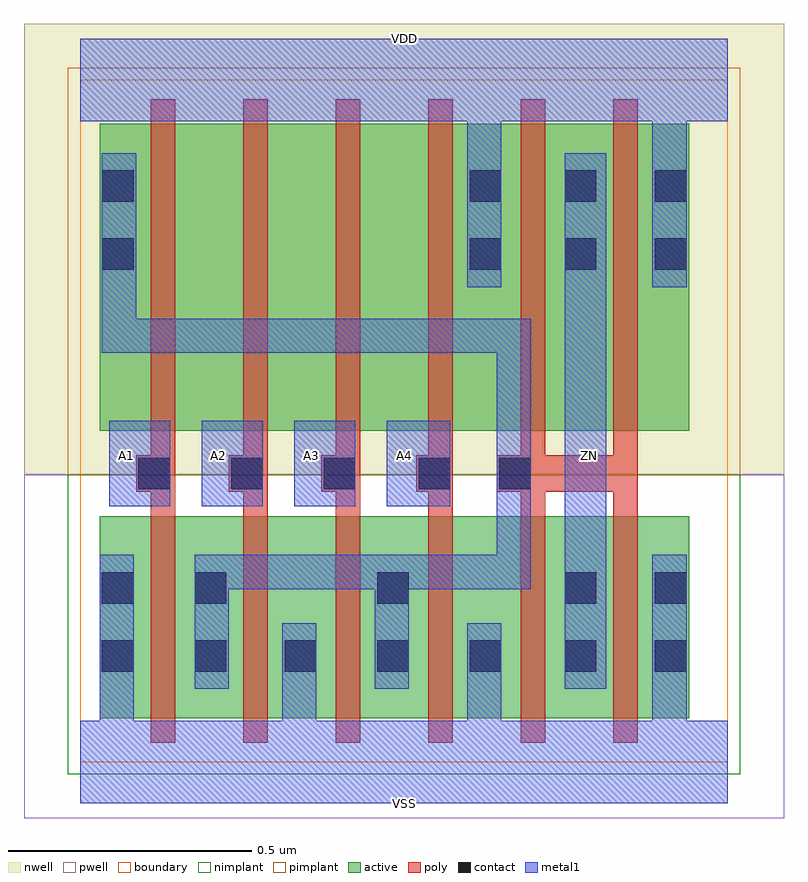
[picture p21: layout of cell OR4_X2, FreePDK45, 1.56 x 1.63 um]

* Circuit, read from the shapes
.subckt OR4_X2 A1 A2 A3 A4 VDD VSS ZN
M1 n1 A1 VSS VSUBS nfet w=0.415u l=0.05u
M2 VSS A2 n1 VSUBS nfet w=0.415u l=0.05u
M3 n1 A3 VSS VSUBS nfet w=0.415u l=0.05u
M4 VSS A4 n1 VSUBS nfet w=0.415u l=0.05u
M5 ZN n1 VSS VSUBS nfet w=0.415u l=0.05u m=2
M6 n2 A1 n1 n3 pfet w=0.63u l=0.05u
M7 n4 A2 n2 n3 pfet w=0.63u l=0.05u
M8 n5 A3 n4 n3 pfet w=0.63u l=0.05u
M9 VDD A4 n5 n3 pfet w=0.63u l=0.05u
M10 ZN n1 VDD n3 pfet w=0.63u l=0.05u m=2
.ends

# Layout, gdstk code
import gdstk
lib = gdstk.Library(unit=1e-6, precision=5e-10)
def R(c, l, rs):  # rectangles x0, y0, x1, y1
    for r in rs: c.add(gdstk.rectangle(r[:2], r[2:], *l))
def A(c, l, x, y, w, h, nx, ny, dx, dy):  # array of equal rectangles
    R(c, l, [(x+i*dx, y+j*dy, x+i*dx+w, y+j*dy+h) for i in range(nx) for j in range(ny)])
def P(c, l, *ps):  # polygons
    for p in ps: c.add(gdstk.Polygon(p, *l))
active = (1, 0)
pwell = (2, 0)
nwell = (3, 0)
nimplant = (4, 0)
pimplant = (5, 0)
poly = (9, 0)
contact = (10, 0)
metal1 = (11, 0)
boundary = (235, 0)

or4_x2 = lib.new_cell('OR4_X2')
R(or4_x2, active, [(0.04,0.09,1.25,0.505), (0.04,0.68,1.25,1.31)])
R(or4_x2, pwell, [(-0.115,-0.115,1.445,0.59)])
R(or4_x2, nwell, [(-0.115,0.59,1.445,1.515)])
R(or4_x2, nimplant, [(-0.025,-0.025,1.355,0.59)])
R(or4_x2, pimplant, [(-0.025,0.59,1.355,1.425)])
P(or4_x2, poly, [(0.855,0.555),(0.905,0.555),(0.905,0.04),(0.955,0.04),(0.955,0.555),(1.095,0.555),(1.095,0.04),(1.145,0.04),(1.145,1.36),(1.095,1.36),(1.095,0.63),(0.955,0.63),(0.955,1.36),(0.905,1.36),(0.905,0.63),(0.855,0.63)],
  [(0.69,0.555),(0.715,0.555),(0.715,0.04),(0.765,0.04),(0.765,1.36),(0.715,1.36),(0.715,0.63),(0.69,0.63)],
  [(0.495,0.555),(0.525,0.555),(0.525,0.04),(0.575,0.04),(0.575,1.36),(0.525,1.36),(0.525,0.63),(0.495,0.63)],
  [(0.305,0.555),(0.335,0.555),(0.335,0.04),(0.385,0.04),(0.385,1.36),(0.335,1.36),(0.335,0.63),(0.305,0.63)],
  [(0.115,0.555),(0.145,0.555),(0.145,0.04),(0.195,0.04),(0.195,1.36),(0.145,1.36),(0.145,0.63),(0.115,0.63)])
A(or4_x2, contact, 0.42, 0.185, 0.065, 0.065, 3, 1, 0.19, 0)
A(or4_x2, contact, 0.12, 0.56, 0.065, 0.065, 3, 1, 0.19, 0)
R(or4_x2, contact, [(0.045,0.185,0.11,0.25), (0.235,0.185,0.3,0.25), (0.995,0.185,1.06,0.25), (1.18,0.185,1.245,0.25), (0.045,0.325,0.11,0.39), (0.235,0.325,0.3,0.39), (0.61,0.325,0.675,0.39), (0.995,0.325,1.06,0.39), (1.18,0.325,1.245,0.39), (0.695,0.56,0.76,0.625), (0.86,0.56,0.925,0.625), (0.045,1.01,0.11,1.075), (0.8,1.01,0.865,1.075), (0.995,1.01,1.06,1.075), (1.18,1.01,1.245,1.075), (0.045,1.15,0.11,1.215), (0.8,1.15,0.865,1.215), (0.995,1.15,1.06,1.215), (1.18,1.15,1.245,1.215)])
R(or4_x2, metal1, [(0.995,0.15,1.08,1.25), (0.995,0.15,1.08,1.25), (0.06,0.525,0.185,0.7), (0.06,0.525,0.185,0.7), (0.25,0.525,0.375,0.7), (0.25,0.525,0.375,0.7), (0.44,0.525,0.565,0.7), (0.44,0.525,0.565,0.7), (0.63,0.525,0.76,0.7), (0.63,0.525,0.76,0.7)])
P(or4_x2, metal1, [(0,-0.085),(1.33,-0.085),(1.33,0.085),(1.245,0.085),(1.245,0.425),(1.175,0.425),(1.175,0.085),(0.865,0.085),(0.865,0.285),(0.795,0.285),(0.795,0.085),(0.485,0.085),(0.485,0.285),(0.415,0.285),(0.415,0.085),(0.11,0.085),(0.11,0.425),(0.04,0.425),(0.04,0.085),(0,0.085)],
  [(0,1.315),(0.795,1.315),(0.795,0.975),(0.865,0.975),(0.865,1.315),(1.175,1.315),(1.175,0.975),(1.245,0.975),(1.245,1.315),(1.33,1.315),(1.33,1.485),(0,1.485)],
  [(0,1.315),(0.795,1.315),(0.795,0.975),(0.865,0.975),(0.865,1.315),(1.175,1.315),(1.175,0.975),(1.245,0.975),(1.245,1.315),(1.33,1.315),(1.33,1.485),(0,1.485)],
  [(0,-0.085),(1.33,-0.085),(1.33,0.085),(1.245,0.085),(1.245,0.425),(1.175,0.425),(1.175,0.085),(0.865,0.085),(0.865,0.285),(0.795,0.285),(0.795,0.085),(0.485,0.085),(0.485,0.285),(0.415,0.285),(0.415,0.085),(0.11,0.085),(0.11,0.425),(0.04,0.425),(0.04,0.085),(0,0.085)],
  [(0.045,0.84),(0.855,0.84),(0.855,0.425),(0.235,0.425),(0.235,0.15),(0.305,0.15),(0.305,0.355),(0.605,0.355),(0.605,0.15),(0.675,0.15),(0.675,0.355),(0.925,0.355),(0.925,0.91),(0.115,0.91),(0.115,1.25),(0.045,1.25)])
R(or4_x2, boundary, [(0,0,1.33,1.4)])
or4_x2.add(gdstk.Label('ZN', (1.045,0.63), layer=11, texttype=0))
or4_x2.add(gdstk.Label('VSS', (0.665,-0.085), layer=11, texttype=0))
or4_x2.add(gdstk.Label('VDD', (0.665,1.485), layer=11, texttype=0))
or4_x2.add(gdstk.Label('A4', (0.665,0.63), layer=11, texttype=0))
or4_x2.add(gdstk.Label('A3', (0.475,0.63), layer=11, texttype=0))
or4_x2.add(gdstk.Label('A2', (0.285,0.63), layer=11, texttype=0))
or4_x2.add(gdstk.Label('A1', (0.095,0.63), layer=11, texttype=0))

lib.write_gds('OR4_X2.gds')
